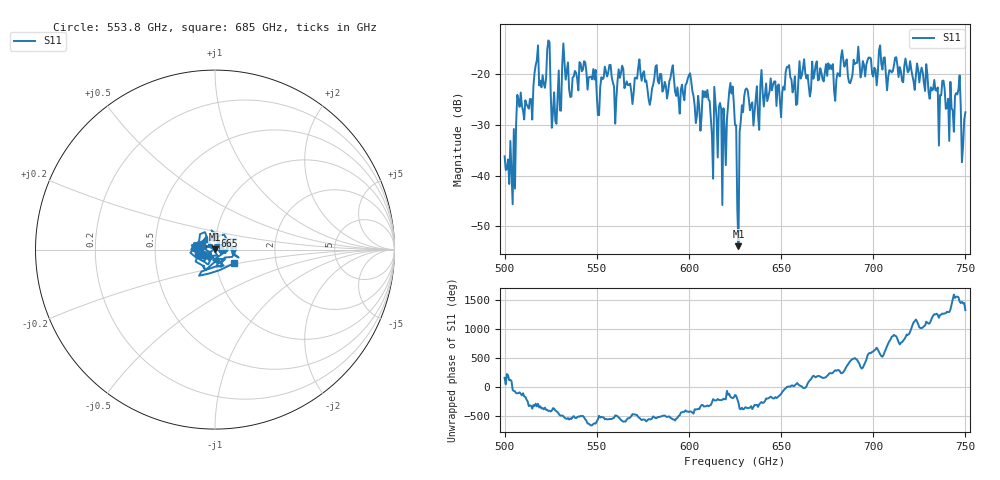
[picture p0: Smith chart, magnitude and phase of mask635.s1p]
!Created with skrf (http://scikit-rf.org).
# GHz S MA R 50.0
!freq magS11 angS11
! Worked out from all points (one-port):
!   401 points, 500 GHz to 750 GHz, reference 50 ohm
!   lowest |S11| = -53.9 dB at 626.9 GHz (marker M1), VSWR 1.00, Z = 50 + j0.202 ohm
!   |S11| at or under -10 dB: start of sweep to end of sweep
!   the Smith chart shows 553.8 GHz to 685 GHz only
!   S11 on the Smith chart (normalised r, x): 553.8 GHz: 0.84, -0.03; 665 GHz: 0.99, +0.15; 685 GHz: 1.21, -0.19
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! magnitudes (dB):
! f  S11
! 500 GHz  -36.2
! 505 GHz  -30.9
! 507.5 GHz  -25.1
! 513.8 GHz  -25.0
! 516.9 GHz  -18.3
! 523.8 GHz  -13.5
! 526.9 GHz  -23.6
! 531.2 GHz  -18.3
! 542.5 GHz  -19.2
! 551.2 GHz  -28.1
! 553.8 GHz  -20.8
! 562.5 GHz  -20.8
! 593.8 GHz  -22.7
! 608.8 GHz  -23.5
! 619.4 GHz  -30.7
! 623.1 GHz  -23.9
! 625 GHz  -30.1
! 626.9 GHz  -53.9
! 628.8 GHz  -26.2
! 631.2 GHz  -22.9
! 656.2 GHz  -23.7
! 665 GHz  -22.4
! 685 GHz  -17.8
! 687.5 GHz  -21.9
! 718.8 GHz  -19.7
! 742.5 GHz  -26.8
! 745.6 GHz  -24.1
! 750 GHz  -27.6
